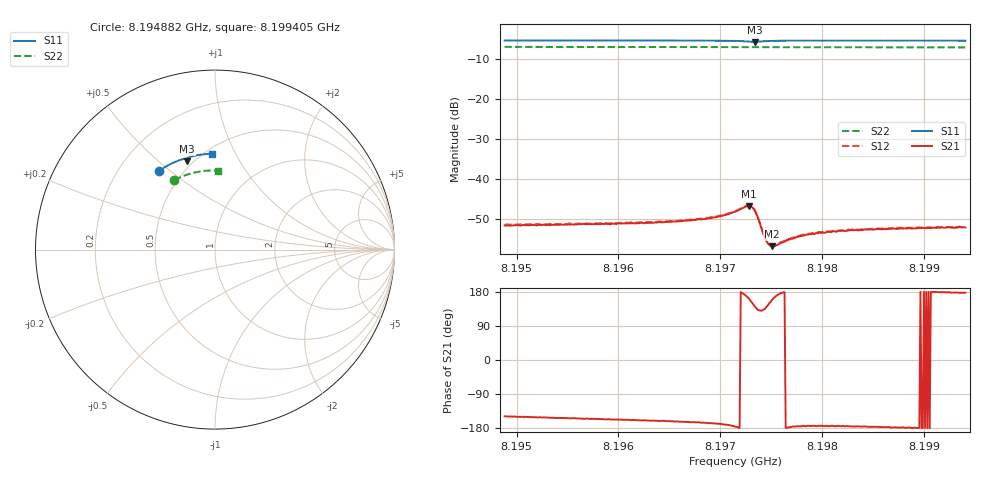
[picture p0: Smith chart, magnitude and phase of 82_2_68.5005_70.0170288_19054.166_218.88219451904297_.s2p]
#  HZ  S  RI  R  50.00
! Rohde & Schwarz Vector Network Analyzer
! Rohde-Schwarz,ZNB20-2Port,1311601062101988,3.16
! Created: UTC 3/20/2024, 4:52:11 PM
! freq[Hz]  re:S11  im:S11  re:S21  im:S21  re:S12  im:S12  re:S22  im:S22
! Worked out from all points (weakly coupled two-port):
!   401 points, 8.194882 GHz to 8.199405 GHz, reference 50 ohm
!   highest |S21| = -46.81 dB at 8.197279 GHz (marker M1); lowest = -56.8 dB at 8.197506 GHz (marker M2)
!   lowest |S11| = -5.7 dB at 8.197336 GHz (marker M3), VSWR 3.14, Z = 23.2 + j31.2 ohm
!   |S11| at or under -10 dB: nowhere
!   |S22| runs from -7.1 to -7.0 dB; largest |S21 - S12| = 0.00023
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8.1948821e9  -0.3148 0.4365  -0.00223 -0.00136  -0.00231 -0.00131  -0.2266 0.3862
8.1956398e9  -0.2694 0.4652  -0.00245 -0.00117  -0.00254 -0.0011  -0.1885 0.4046
8.1963974e9  -0.2206 0.4892  -0.00273 -0.000933  -0.00281 -0.000856  -0.1489 0.4198
8.1968385e9  -0.1901 0.5009  -0.00304 -0.000797  -0.00315 -0.00071  -0.1249 0.4266
8.1969855e9  -0.1789 0.5041  -0.00333 -0.000689  -0.00343 -0.000577  -0.1169 0.4286
8.1971438e9  -0.1649 0.5058  -0.00386 -0.00033  -0.00396 -0.000155  -0.1083 0.4305
8.1972343e9  -0.1557 0.5029  -0.00435 0.000511  -0.0044 0.000708  -0.1032 0.4316
8.1972795e9  -0.1527 0.4986  -0.00435 0.00138  -0.00438 0.00161  -0.1007 0.4319
8.1973134e9  -0.1533 0.4945  -0.00384 0.00215  -0.00382 0.00236  -0.099 0.4321
8.197336e9  -0.1556 0.4929  -0.00319 0.00247  -0.00313 0.00267  -0.0978 0.4324
8.19737e9  -0.1596 0.494  -0.00218 0.00241  -0.00212 0.00249  -0.0961 0.4328
8.1974265e9  -0.1612 0.5008  -0.00136 0.00142  -0.00133 0.00153  -0.093 0.4335
8.1974491e9  -0.1602 0.5032  -0.00127 0.00111  -0.00124 0.00118  -0.0919 0.4337
8.1974717e9  -0.1587 0.5054  -0.00127 0.000851  -0.00128 0.000913  -0.0906 0.434
8.1975057e9  -0.1561 0.5079  -0.00134 0.000534  -0.00136 0.000597  -0.0887 0.4344
8.1975509e9  -0.1524 0.5107  -0.00146 0.000258  -0.00148 0.000331  -0.0862 0.4349
8.1976753e9  -0.1423 0.5152  -0.00177 -5.65e-05  -0.00176 -1.11e-06  -0.0792 0.436
8.1977658e9  -0.1354 0.5175  -0.00188 -0.000164  -0.00193 -0.000104  -0.0742 0.4367
8.1979015e9  -0.1252 0.5203  -0.00202 -0.000212  -0.00211 -0.000176  -0.0667 0.4378
8.1981842e9  -0.1047 0.5249  -0.00222 -0.000208  -0.00228 -0.000129  -0.0506 0.4394
8.1986591e9  -0.0708 0.5301  -0.00238 -0.000132  -0.00242 -5.22e-05  -0.0239 0.4408
8.1994055e9  -0.0177 0.5336  -0.00246 0.000114  -0.00252 0.000242  0.0183 0.4396
